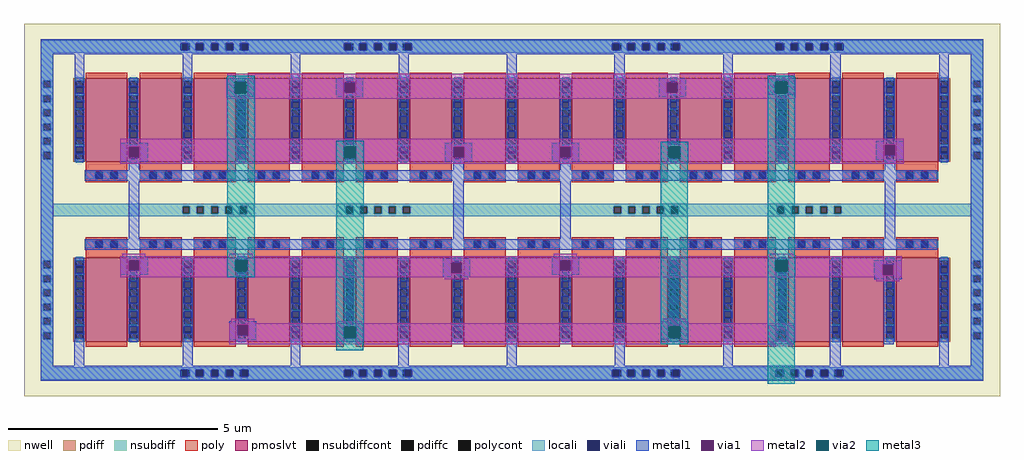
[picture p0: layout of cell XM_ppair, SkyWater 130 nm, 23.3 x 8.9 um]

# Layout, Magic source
magic
tech sky130A
magscale 1 2
<< nwell >>
rect -220 -1060 4440 720
<< nsubdiff >>
rect -140 627 4360 640
rect -140 593 537 627
rect 571 593 605 627
rect 639 593 673 627
rect 707 593 741 627
rect 775 593 809 627
rect 843 593 1317 627
rect 1351 593 1385 627
rect 1419 593 1453 627
rect 1487 593 1521 627
rect 1555 593 1589 627
rect 1623 593 2597 627
rect 2631 593 2665 627
rect 2699 593 2733 627
rect 2767 593 2801 627
rect 2835 593 2869 627
rect 2903 593 3377 627
rect 3411 593 3445 627
rect 3479 593 3513 627
rect 3547 593 3581 627
rect 3615 593 3649 627
rect 3683 593 4360 627
rect -140 580 4360 593
rect -140 447 -80 580
rect -140 413 -127 447
rect -93 413 -80 447
rect -140 379 -80 413
rect -140 345 -127 379
rect -93 345 -80 379
rect -140 311 -80 345
rect -140 277 -127 311
rect -93 277 -80 311
rect -140 243 -80 277
rect -140 209 -127 243
rect -93 209 -80 243
rect -140 175 -80 209
rect -140 141 -127 175
rect -93 141 -80 175
rect -140 107 -80 141
rect -140 73 -127 107
rect -93 73 -80 107
rect -140 -140 -80 73
rect 4300 447 4360 580
rect 4300 413 4313 447
rect 4347 413 4360 447
rect 4300 379 4360 413
rect 4300 345 4313 379
rect 4347 345 4360 379
rect 4300 311 4360 345
rect 4300 277 4313 311
rect 4347 277 4360 311
rect 4300 243 4360 277
rect 4300 209 4313 243
rect 4347 209 4360 243
rect 4300 175 4360 209
rect 4300 141 4313 175
rect 4347 141 4360 175
rect 4300 107 4360 141
rect 4300 73 4313 107
rect 4347 73 4360 107
rect 4300 -140 4360 73
rect -140 -153 4360 -140
rect -140 -187 537 -153
rect 571 -187 605 -153
rect 639 -187 673 -153
rect 707 -187 741 -153
rect 775 -187 809 -153
rect 843 -187 1317 -153
rect 1351 -187 1385 -153
rect 1419 -187 1453 -153
rect 1487 -187 1521 -153
rect 1555 -187 1589 -153
rect 1623 -187 2597 -153
rect 2631 -187 2665 -153
rect 2699 -187 2733 -153
rect 2767 -187 2801 -153
rect 2835 -187 2869 -153
rect 2903 -187 3377 -153
rect 3411 -187 3445 -153
rect 3479 -187 3513 -153
rect 3547 -187 3581 -153
rect 3615 -187 3649 -153
rect 3683 -187 4360 -153
rect -140 -200 4360 -187
rect -140 -413 -80 -200
rect -140 -447 -127 -413
rect -93 -447 -80 -413
rect -140 -481 -80 -447
rect -140 -515 -127 -481
rect -93 -515 -80 -481
rect -140 -549 -80 -515
rect -140 -583 -127 -549
rect -93 -583 -80 -549
rect -140 -617 -80 -583
rect -140 -651 -127 -617
rect -93 -651 -80 -617
rect -140 -685 -80 -651
rect -140 -719 -127 -685
rect -93 -719 -80 -685
rect -140 -753 -80 -719
rect -140 -787 -127 -753
rect -93 -787 -80 -753
rect -140 -920 -80 -787
rect 4300 -413 4360 -200
rect 4300 -447 4313 -413
rect 4347 -447 4360 -413
rect 4300 -481 4360 -447
rect 4300 -515 4313 -481
rect 4347 -515 4360 -481
rect 4300 -549 4360 -515
rect 4300 -583 4313 -549
rect 4347 -583 4360 -549
rect 4300 -617 4360 -583
rect 4300 -651 4313 -617
rect 4347 -651 4360 -617
rect 4300 -685 4360 -651
rect 4300 -719 4313 -685
rect 4347 -719 4360 -685
rect 4300 -753 4360 -719
rect 4300 -787 4313 -753
rect 4347 -787 4360 -753
rect 4300 -920 4360 -787
rect -140 -933 4360 -920
rect -140 -967 537 -933
rect 571 -967 605 -933
rect 639 -967 673 -933
rect 707 -967 741 -933
rect 775 -967 809 -933
rect 843 -967 1317 -933
rect 1351 -967 1385 -933
rect 1419 -967 1453 -933
rect 1487 -967 1521 -933
rect 1555 -967 1589 -933
rect 1623 -967 2597 -933
rect 2631 -967 2665 -933
rect 2699 -967 2733 -933
rect 2767 -967 2801 -933
rect 2835 -967 2869 -933
rect 2903 -967 3377 -933
rect 3411 -967 3445 -933
rect 3479 -967 3513 -933
rect 3547 -967 3581 -933
rect 3615 -967 3649 -933
rect 3683 -967 4360 -933
rect -140 -980 4360 -967
<< nsubdiffcont >>
rect 537 593 571 627
rect 605 593 639 627
rect 673 593 707 627
rect 741 593 775 627
rect 809 593 843 627
rect 1317 593 1351 627
rect 1385 593 1419 627
rect 1453 593 1487 627
rect 1521 593 1555 627
rect 1589 593 1623 627
rect 2597 593 2631 627
rect 2665 593 2699 627
rect 2733 593 2767 627
rect 2801 593 2835 627
rect 2869 593 2903 627
rect 3377 593 3411 627
rect 3445 593 3479 627
rect 3513 593 3547 627
rect 3581 593 3615 627
rect 3649 593 3683 627
rect -127 413 -93 447
rect -127 345 -93 379
rect -127 277 -93 311
rect -127 209 -93 243
rect -127 141 -93 175
rect -127 73 -93 107
rect 4313 413 4347 447
rect 4313 345 4347 379
rect 4313 277 4347 311
rect 4313 209 4347 243
rect 4313 141 4347 175
rect 4313 73 4347 107
rect 537 -187 571 -153
rect 605 -187 639 -153
rect 673 -187 707 -153
rect 741 -187 775 -153
rect 809 -187 843 -153
rect 1317 -187 1351 -153
rect 1385 -187 1419 -153
rect 1453 -187 1487 -153
rect 1521 -187 1555 -153
rect 1589 -187 1623 -153
rect 2597 -187 2631 -153
rect 2665 -187 2699 -153
rect 2733 -187 2767 -153
rect 2801 -187 2835 -153
rect 2869 -187 2903 -153
rect 3377 -187 3411 -153
rect 3445 -187 3479 -153
rect 3513 -187 3547 -153
rect 3581 -187 3615 -153
rect 3649 -187 3683 -153
rect -127 -447 -93 -413
rect -127 -515 -93 -481
rect -127 -583 -93 -549
rect -127 -651 -93 -617
rect -127 -719 -93 -685
rect -127 -787 -93 -753
rect 4313 -447 4347 -413
rect 4313 -515 4347 -481
rect 4313 -583 4347 -549
rect 4313 -651 4347 -617
rect 4313 -719 4347 -685
rect 4313 -787 4347 -753
rect 537 -967 571 -933
rect 605 -967 639 -933
rect 673 -967 707 -933
rect 741 -967 775 -933
rect 809 -967 843 -933
rect 1317 -967 1351 -933
rect 1385 -967 1419 -933
rect 1453 -967 1487 -933
rect 1521 -967 1555 -933
rect 1589 -967 1623 -933
rect 2597 -967 2631 -933
rect 2665 -967 2699 -933
rect 2733 -967 2767 -933
rect 2801 -967 2835 -933
rect 2869 -967 2903 -933
rect 3377 -967 3411 -933
rect 3445 -967 3479 -933
rect 3513 -967 3547 -933
rect 3581 -967 3615 -933
rect 3649 -967 3683 -933
<< locali >>
rect -140 627 4360 640
rect -140 593 529 627
rect 571 593 601 627
rect 639 593 673 627
rect 707 593 741 627
rect 779 593 809 627
rect 851 593 1309 627
rect 1351 593 1381 627
rect 1419 593 1453 627
rect 1487 593 1521 627
rect 1559 593 1589 627
rect 1631 593 2589 627
rect 2631 593 2661 627
rect 2699 593 2733 627
rect 2767 593 2801 627
rect 2839 593 2869 627
rect 2911 593 3369 627
rect 3411 593 3441 627
rect 3479 593 3513 627
rect 3547 593 3581 627
rect 3619 593 3649 627
rect 3691 593 4360 627
rect -140 580 4360 593
rect -140 447 -80 580
rect -140 413 -127 447
rect -93 413 -80 447
rect -140 379 -80 413
rect -140 345 -127 379
rect -93 345 -80 379
rect -140 311 -80 345
rect -140 277 -127 311
rect -93 277 -80 311
rect -140 243 -80 277
rect -140 209 -127 243
rect -93 209 -80 243
rect -140 175 -80 209
rect -140 141 -127 175
rect -93 141 -80 175
rect -140 107 -80 141
rect -140 73 -127 107
rect -93 73 -80 107
rect -140 -140 -80 73
rect 4300 447 4360 580
rect 4300 413 4313 447
rect 4347 413 4360 447
rect 4300 379 4360 413
rect 4300 345 4313 379
rect 4347 345 4360 379
rect 4300 311 4360 345
rect 4300 277 4313 311
rect 4347 277 4360 311
rect 4300 243 4360 277
rect 4300 209 4313 243
rect 4347 209 4360 243
rect 4300 175 4360 209
rect 4300 141 4313 175
rect 4347 141 4360 175
rect 4300 107 4360 141
rect 4300 73 4313 107
rect 4347 73 4360 107
rect 4300 -140 4360 73
rect -140 -153 4360 -140
rect -140 -187 537 -153
rect 571 -187 605 -153
rect 639 -187 673 -153
rect 707 -187 741 -153
rect 775 -187 809 -153
rect 843 -187 1317 -153
rect 1351 -187 1385 -153
rect 1419 -187 1453 -153
rect 1487 -187 1521 -153
rect 1555 -187 1589 -153
rect 1623 -187 2597 -153
rect 2631 -187 2665 -153
rect 2699 -187 2733 -153
rect 2767 -187 2801 -153
rect 2835 -187 2869 -153
rect 2903 -187 3377 -153
rect 3411 -187 3445 -153
rect 3479 -187 3513 -153
rect 3547 -187 3581 -153
rect 3615 -187 3649 -153
rect 3683 -187 4360 -153
rect -140 -200 4360 -187
rect -140 -413 -80 -200
rect -140 -447 -127 -413
rect -93 -447 -80 -413
rect -140 -481 -80 -447
rect -140 -515 -127 -481
rect -93 -515 -80 -481
rect -140 -549 -80 -515
rect -140 -583 -127 -549
rect -93 -583 -80 -549
rect -140 -617 -80 -583
rect -140 -651 -127 -617
rect -93 -651 -80 -617
rect -140 -685 -80 -651
rect -140 -719 -127 -685
rect -93 -719 -80 -685
rect -140 -753 -80 -719
rect -140 -787 -127 -753
rect -93 -787 -80 -753
rect -140 -920 -80 -787
rect 4300 -413 4360 -200
rect 4300 -447 4313 -413
rect 4347 -447 4360 -413
rect 4300 -481 4360 -447
rect 4300 -515 4313 -481
rect 4347 -515 4360 -481
rect 4300 -549 4360 -515
rect 4300 -583 4313 -549
rect 4347 -583 4360 -549
rect 4300 -617 4360 -583
rect 4300 -651 4313 -617
rect 4347 -651 4360 -617
rect 4300 -685 4360 -651
rect 4300 -719 4313 -685
rect 4347 -719 4360 -685
rect 4300 -753 4360 -719
rect 4300 -787 4313 -753
rect 4347 -787 4360 -753
rect 4300 -920 4360 -787
rect -140 -933 4360 -920
rect -140 -967 529 -933
rect 571 -967 601 -933
rect 639 -967 673 -933
rect 707 -967 741 -933
rect 779 -967 809 -933
rect 851 -967 1309 -933
rect 1351 -967 1381 -933
rect 1419 -967 1453 -933
rect 1487 -967 1521 -933
rect 1559 -967 1589 -933
rect 1631 -967 2589 -933
rect 2631 -967 2661 -933
rect 2699 -967 2733 -933
rect 2767 -967 2801 -933
rect 2839 -967 2869 -933
rect 2911 -967 3369 -933
rect 3411 -967 3441 -933
rect 3479 -967 3513 -933
rect 3547 -967 3581 -933
rect 3619 -967 3649 -933
rect 3691 -967 4360 -933
rect -140 -980 4360 -967
<< viali >>
rect 529 593 537 627
rect 537 593 563 627
rect 601 593 605 627
rect 605 593 635 627
rect 673 593 707 627
rect 745 593 775 627
rect 775 593 779 627
rect 817 593 843 627
rect 843 593 851 627
rect 1309 593 1317 627
rect 1317 593 1343 627
rect 1381 593 1385 627
rect 1385 593 1415 627
rect 1453 593 1487 627
rect 1525 593 1555 627
rect 1555 593 1559 627
rect 1597 593 1623 627
rect 1623 593 1631 627
rect 2589 593 2597 627
rect 2597 593 2623 627
rect 2661 593 2665 627
rect 2665 593 2695 627
rect 2733 593 2767 627
rect 2805 593 2835 627
rect 2835 593 2839 627
rect 2877 593 2903 627
rect 2903 593 2911 627
rect 3369 593 3377 627
rect 3377 593 3403 627
rect 3441 593 3445 627
rect 3445 593 3475 627
rect 3513 593 3547 627
rect 3585 593 3615 627
rect 3615 593 3619 627
rect 3657 593 3683 627
rect 3683 593 3691 627
rect 529 -967 537 -933
rect 537 -967 563 -933
rect 601 -967 605 -933
rect 605 -967 635 -933
rect 673 -967 707 -933
rect 745 -967 775 -933
rect 775 -967 779 -933
rect 817 -967 843 -933
rect 843 -967 851 -933
rect 1309 -967 1317 -933
rect 1317 -967 1343 -933
rect 1381 -967 1385 -933
rect 1385 -967 1415 -933
rect 1453 -967 1487 -933
rect 1525 -967 1555 -933
rect 1555 -967 1559 -933
rect 1597 -967 1623 -933
rect 1623 -967 1631 -933
rect 2589 -967 2597 -933
rect 2597 -967 2623 -933
rect 2661 -967 2665 -933
rect 2665 -967 2695 -933
rect 2733 -967 2767 -933
rect 2805 -967 2835 -933
rect 2835 -967 2839 -933
rect 2877 -967 2903 -933
rect 2903 -967 2911 -933
rect 3369 -967 3377 -933
rect 3377 -967 3403 -933
rect 3441 -967 3445 -933
rect 3445 -967 3475 -933
rect 3513 -967 3547 -933
rect 3585 -967 3615 -933
rect 3615 -967 3619 -933
rect 3657 -967 3683 -933
rect 3683 -967 3691 -933
<< metal1 >>
rect -140 627 4360 646
rect -140 593 529 627
rect 563 593 601 627
rect 635 593 673 627
rect 707 593 745 627
rect 779 593 817 627
rect 851 593 1309 627
rect 1343 593 1381 627
rect 1415 593 1453 627
rect 1487 593 1525 627
rect 1559 593 1597 627
rect 1631 593 2589 627
rect 2623 593 2661 627
rect 2695 593 2733 627
rect 2767 593 2805 627
rect 2839 593 2877 627
rect 2911 593 3369 627
rect 3403 593 3441 627
rect 3475 593 3513 627
rect 3547 593 3585 627
rect 3619 593 3657 627
rect 3691 593 4360 627
rect -140 574 4360 593
rect -140 -914 -80 574
rect 22 420 68 574
rect 538 420 584 574
rect 750 441 880 460
rect 750 389 789 441
rect 841 389 880 441
rect 1054 420 1100 574
rect 1270 441 1400 460
rect 750 370 880 389
rect 1270 389 1309 441
rect 1361 389 1400 441
rect 1570 420 1616 574
rect 2086 420 2132 574
rect 2340 448 2386 460
rect 1270 370 1400 389
rect 1316 360 1322 370
rect 1356 360 1362 370
rect 2340 150 2346 448
rect 2380 150 2386 448
rect 2598 448 2648 574
rect 240 131 370 150
rect 240 79 279 131
rect 331 79 370 131
rect 240 60 370 79
rect 1790 131 1920 150
rect 1790 79 1829 131
rect 1881 79 1920 131
rect 1790 60 1920 79
rect 2300 131 2430 150
rect 2300 79 2339 131
rect 2391 79 2430 131
rect 2300 60 2430 79
rect 2598 72 2604 448
rect 2810 441 2940 460
rect 3118 449 3164 574
rect 3330 451 3460 470
rect 2810 389 2849 441
rect 2901 389 2940 441
rect 2810 370 2940 389
rect 3330 399 3369 451
rect 3421 399 3460 451
rect 3330 380 3460 399
rect 3630 454 3680 574
rect 3888 459 3938 460
rect 3888 458 3934 459
rect 3372 370 3382 380
rect 3412 370 3422 380
rect 2856 72 2862 370
rect 2896 72 2902 370
rect 2598 60 2638 72
rect 2856 60 2902 72
rect 3372 82 3378 370
rect 3412 82 3418 370
rect 3372 70 3418 82
rect 3630 82 3636 454
rect 3670 82 3676 454
rect 3888 160 3894 458
rect 3928 160 3934 458
rect 4150 457 4196 574
rect 3630 70 3676 82
rect 3850 141 3980 160
rect 3850 89 3889 141
rect 3941 89 3980 141
rect 3850 70 3980 89
rect 280 20 330 60
rect 1830 20 1880 60
rect 2340 20 2390 60
rect 3890 20 3940 70
rect 70 -30 4140 20
rect 280 -310 330 -30
rect 1830 -310 1880 -30
rect 2340 -310 2390 -30
rect 3890 -310 3940 -30
rect 70 -360 4140 -310
rect 240 -409 370 -390
rect 240 -461 279 -409
rect 331 -461 370 -409
rect 240 -480 370 -461
rect 540 -402 586 -390
rect 282 -490 292 -480
rect 322 -490 332 -480
rect 282 -778 288 -490
rect 322 -778 328 -490
rect 21 -914 68 -789
rect 282 -790 328 -778
rect 540 -778 546 -402
rect 580 -778 586 -402
rect 798 -402 844 -390
rect 798 -700 804 -402
rect 838 -700 844 -402
rect 1310 -412 1356 -400
rect 540 -787 586 -778
rect 538 -914 586 -787
rect 760 -719 890 -700
rect 1310 -710 1316 -412
rect 1350 -710 1356 -412
rect 1568 -412 1614 -400
rect 760 -771 799 -719
rect 851 -771 890 -719
rect 760 -790 890 -771
rect 1270 -729 1400 -710
rect 1270 -781 1309 -729
rect 1361 -781 1400 -729
rect 1054 -914 1100 -789
rect 1270 -800 1400 -781
rect 1568 -788 1574 -412
rect 1608 -788 1614 -412
rect 1780 -419 1910 -400
rect 1780 -471 1819 -419
rect 1871 -471 1910 -419
rect 1780 -490 1910 -471
rect 2300 -409 2430 -390
rect 2300 -461 2339 -409
rect 2391 -461 2430 -409
rect 2300 -480 2430 -461
rect 2600 -402 2646 -390
rect 2342 -490 2352 -480
rect 2382 -490 2392 -480
rect 1568 -794 1614 -788
rect 1826 -788 1832 -490
rect 1866 -788 1872 -490
rect 1568 -914 1616 -794
rect 1826 -800 1872 -788
rect 2342 -778 2348 -490
rect 2382 -778 2388 -490
rect 2342 -790 2388 -778
rect 2600 -778 2606 -402
rect 2640 -778 2646 -402
rect 2858 -402 2904 -390
rect 2858 -700 2864 -402
rect 2898 -700 2904 -402
rect 3370 -422 3416 -410
rect 2600 -784 2646 -778
rect 2820 -719 2950 -700
rect 2820 -771 2859 -719
rect 2911 -771 2950 -719
rect 3370 -720 3376 -422
rect 3410 -720 3416 -422
rect 3628 -422 3674 -410
rect 2086 -914 2132 -794
rect 2600 -914 2648 -784
rect 2820 -790 2950 -771
rect 3330 -739 3460 -720
rect 3118 -914 3164 -778
rect 3330 -791 3369 -739
rect 3421 -791 3460 -739
rect 3330 -810 3460 -791
rect 3628 -782 3634 -422
rect 3668 -782 3674 -422
rect 3840 -429 3970 -410
rect 3840 -481 3879 -429
rect 3931 -481 3970 -429
rect 3840 -500 3970 -481
rect 3628 -914 3680 -782
rect 3886 -798 3892 -500
rect 3926 -798 3932 -500
rect 3886 -810 3932 -798
rect 4150 -914 4196 -775
rect 4300 -914 4360 574
rect -140 -933 4360 -914
rect -140 -967 529 -933
rect 563 -967 601 -933
rect 635 -967 673 -933
rect 707 -967 745 -933
rect 779 -967 817 -933
rect 851 -967 1309 -933
rect 1343 -967 1381 -933
rect 1415 -967 1453 -933
rect 1487 -967 1525 -933
rect 1559 -967 1597 -933
rect 1631 -967 2589 -933
rect 2623 -967 2661 -933
rect 2695 -967 2733 -933
rect 2767 -967 2805 -933
rect 2839 -967 2877 -933
rect 2911 -967 3369 -933
rect 3403 -967 3441 -933
rect 3475 -967 3513 -933
rect 3547 -967 3585 -933
rect 3619 -967 3657 -933
rect 3691 -967 4360 -933
rect -140 -986 4360 -967
<< via1 >>
rect 789 389 841 441
rect 1309 389 1361 441
rect 279 79 331 131
rect 1829 79 1881 131
rect 2339 79 2391 131
rect 2849 389 2901 441
rect 3369 399 3421 451
rect 3889 89 3941 141
rect 279 -461 331 -409
rect 799 -771 851 -719
rect 1309 -781 1361 -729
rect 1819 -471 1871 -419
rect 2339 -461 2391 -409
rect 2859 -771 2911 -719
rect 3369 -791 3421 -739
rect 3879 -481 3931 -429
<< metal2 >>
rect 750 451 3460 480
rect 750 443 3369 451
rect 3421 443 3460 451
rect 750 387 786 443
rect 842 441 3368 443
rect 842 389 1309 441
rect 1361 389 2849 441
rect 2901 389 3368 441
rect 842 387 3368 389
rect 3424 387 3460 443
rect 750 360 3460 387
rect 240 141 3980 170
rect 240 133 3889 141
rect 240 131 1308 133
rect 240 79 279 131
rect 331 79 1308 131
rect 240 77 1308 79
rect 1364 131 2858 133
rect 1364 79 1829 131
rect 1881 79 2339 131
rect 2391 79 2858 131
rect 1364 77 2858 79
rect 2914 89 3889 133
rect 3941 89 3980 141
rect 2914 77 3980 89
rect 240 50 3980 77
rect 250 -390 360 -380
rect 760 -390 872 -380
rect 2310 -390 2420 -380
rect 3340 -390 3452 -380
rect 240 -407 3970 -390
rect 240 -409 788 -407
rect 240 -461 279 -409
rect 331 -461 788 -409
rect 240 -463 788 -461
rect 844 -409 3368 -407
rect 844 -419 2339 -409
rect 844 -463 1819 -419
rect 240 -471 1819 -463
rect 1871 -461 2339 -419
rect 2391 -461 3368 -409
rect 1871 -463 3368 -461
rect 3424 -429 3970 -407
rect 3424 -463 3879 -429
rect 1871 -471 3879 -463
rect 240 -481 3879 -471
rect 3931 -481 3970 -429
rect 240 -490 3970 -481
rect 1790 -500 1900 -490
rect 3850 -510 3960 -490
rect 770 -710 880 -690
rect 2830 -700 2940 -690
rect 1280 -710 1392 -700
rect 2830 -710 2942 -700
rect 760 -719 3460 -710
rect 760 -771 799 -719
rect 851 -727 2859 -719
rect 2911 -727 3460 -719
rect 851 -771 1308 -727
rect 760 -783 1308 -771
rect 1364 -783 2858 -727
rect 2914 -739 3460 -727
rect 2914 -783 3369 -739
rect 760 -791 3369 -783
rect 3421 -791 3460 -739
rect 760 -810 3460 -791
rect 3340 -820 3450 -810
<< via2 >>
rect 786 441 842 443
rect 786 389 789 441
rect 789 389 841 441
rect 841 389 842 441
rect 3368 399 3369 443
rect 3369 399 3421 443
rect 3421 399 3424 443
rect 786 387 842 389
rect 3368 387 3424 399
rect 1308 77 1364 133
rect 2858 77 2914 133
rect 788 -463 844 -407
rect 3368 -463 3424 -407
rect 1308 -729 1364 -727
rect 1308 -781 1309 -729
rect 1309 -781 1361 -729
rect 1361 -781 1364 -729
rect 1308 -783 1364 -781
rect 2858 -771 2859 -727
rect 2859 -771 2911 -727
rect 2911 -771 2914 -727
rect 2858 -783 2914 -771
<< metal3 >>
rect 750 465 882 470
rect 748 443 882 465
rect 748 387 786 443
rect 842 387 882 443
rect 748 365 882 387
rect 750 -407 882 365
rect 3330 465 3460 470
rect 3330 443 3462 465
rect 3330 387 3368 443
rect 3424 387 3462 443
rect 3330 365 3462 387
rect 750 -463 788 -407
rect 844 -463 882 -407
rect 750 -490 882 -463
rect 1270 133 1402 160
rect 1270 77 1308 133
rect 1364 77 1402 133
rect 1270 -727 1402 77
rect 1270 -783 1308 -727
rect 1364 -783 1402 -727
rect 1270 -810 1402 -783
rect 2820 133 2952 155
rect 2820 77 2858 133
rect 2914 77 2952 133
rect 2820 55 2952 77
rect 2820 -705 2950 55
rect 3330 -385 3460 365
rect 3330 -407 3462 -385
rect 3330 -463 3368 -407
rect 3424 -463 3462 -407
rect 3330 -485 3462 -463
rect 2820 -727 2952 -705
rect 2820 -783 2858 -727
rect 2914 -783 2952 -727
rect 2820 -805 2952 -783
rect 2820 -810 2950 -805
rect 1270 -840 1400 -810
rect 3330 -1000 3460 -485
use sky130_fd_pr__pfet_01v8_lvt_B64SAM  sky130_fd_pr__pfet_01v8_lvt_B64SAM_0
transform 1 0 2109 0 1 224
box -2129 -264 2129 298
use sky130_fd_pr__pfet_01v8_lvt_MBDTEX  sky130_fd_pr__pfet_01v8_lvt_MBDTEX_0
transform 1 0 2109 0 1 -562
box -2129 -298 2129 264
<< end >>

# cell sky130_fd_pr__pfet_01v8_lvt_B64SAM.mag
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
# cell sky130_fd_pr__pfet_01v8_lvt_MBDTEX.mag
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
